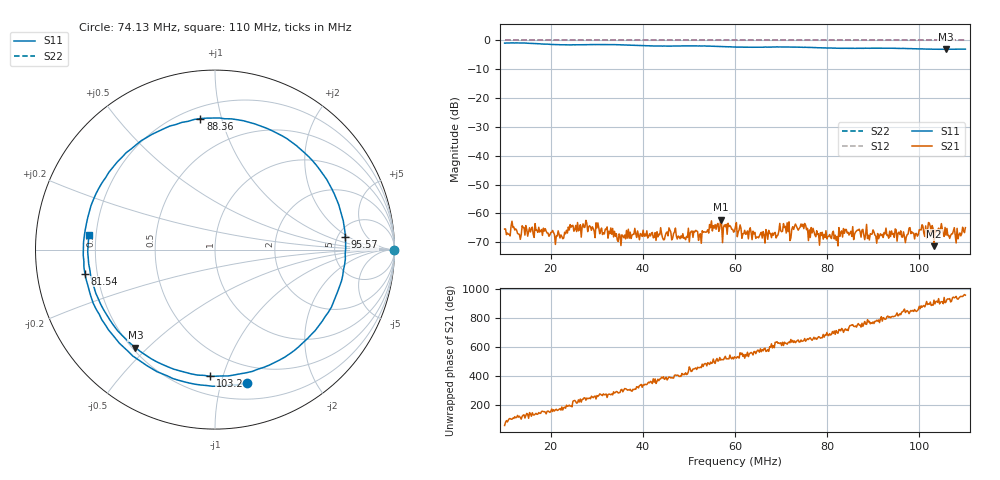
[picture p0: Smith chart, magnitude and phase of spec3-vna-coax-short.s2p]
! Anritsu VNA Master:  Model: MS2034B/10/19/501
! SN:  1337062
! /bd0/ovro-jan-2016/spec3-vna-coax-short.s2p
! Existing Calibration Information:
! TYPE:  Current Settings,  Active Cal Settings
! TIME:  01/10/2016 07:44:49 PM,  01/10/2016 03:13:30 PM
! INTERNAL TEMP:  41.8 C,  45.8 C
! # POINTS:  500,  500
! START FREQ:  10.000 MHz,  10.000 MHz
! STOP FREQ:  110.000 MHz,  110.000 MHz
! SOURCE POWER:  Low,  Low
! IFBW:  100 Hz,  100 Hz
! AVG FACTOR:  1 ,  3
! REF PLANE 1:  2.2245 m,  2.2245 m
! REF PLANE 2:  0 mm,  0 mm
! CAL TYPE:  1P2P S11,S21,  1P2P S11,S21
! CAL METHOD:  SOLT,  SOLT
! CAL LINE TYPE:  Coax,  Coax
! DUT PORT 1:  K-Conn(M),  K-Conn(M)
! DUT PORT 2:  N-Conn(M),  N-Conn(M)
! CAL STATUS:  OK: Accuracy High,  --
# GHZ S DB R 50.0
! FREQ.GHZ  S11DB  S11A  S21DB  S21A  S12DB  S12A  S22DB  S22A
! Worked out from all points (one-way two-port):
!   500 points, 10 MHz to 110 MHz, reference 50 ohm
!   highest |S21| = -62.20 dB at 56.89 MHz (marker M1); lowest = -71.3 dB at 103.2 MHz (marker M2)
!   lowest |S11| = -3.1 dB at 105.8 MHz (marker M3), VSWR 5.74, Z = 10.6 - j22.9 ohm
!   |S11| at or under -10 dB: nowhere
!   |S22| runs from 0.0 to 0.0 dB; largest |S21 - S12| = 1
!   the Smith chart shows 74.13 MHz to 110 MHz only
!   S11 on the Smith chart (normalised r, x): 74.13 MHz: 0.34, -1.21; 81.54 MHz: 0.15, -0.09; 88.36 MHz: 0.27, +0.86; 95.57 MHz: 5.82, +1.78; 103.2 MHz: 0.32, -0.91; 110 MHz: 0.17, +0.06
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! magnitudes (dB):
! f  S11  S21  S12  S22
! 10 MHz  -0.9  -65.4  0.0  0.0
! 22.42 MHz  -1.5  -68.0  0.0  0.0
! 24.23 MHz  -1.5  -63.9  0.0  0.0
! 26.83 MHz  -1.5  -64.7  0.0  0.0
! 30.24 MHz  -1.4  -63.3  0.0  0.0
! 34.85 MHz  -1.5  -67.1  0.0  0.0
! 43.47 MHz  -1.9  -67.2  0.0  0.0
! 49.28 MHz  -1.9  -69.1  0.0  0.0
! 54.89 MHz  -2.0  -62.6  0.0  0.0
! 56.89 MHz  -2.1  -62.2  0.0  0.0
! 60.1 MHz  -2.3  -64.5  0.0  0.0
! 64.91 MHz  -2.3  -68.2  0.0  0.0
! 74.13 MHz  -2.3  -64.8  0.0  0.0
! 76.73 MHz  -2.4  -66.8  0.0  0.0
! 81.54 MHz  -2.7  -68.8  0.0  0.0
! 88.36 MHz  -2.7  -67.2  0.0  0.0
! 93.37 MHz  -2.7  -68.6  0.0  0.0
! 95.57 MHz  -2.7  -66.5  0.0  0.0
! 102.4 MHz  -3.0  -64.5  0.0  0.0
! 103.2 MHz  -3.0  -71.3  0.0  0.0
! 105.8 MHz  -3.1  -67.6  0.0  0.0
! 110 MHz  -3.0  -64.9  0.0  0.0
